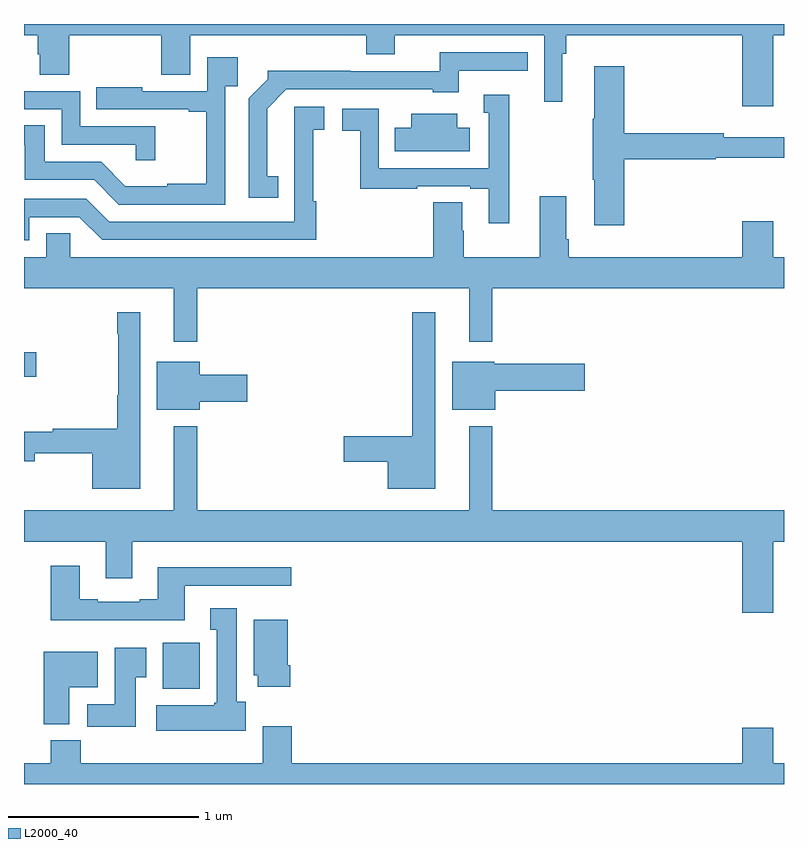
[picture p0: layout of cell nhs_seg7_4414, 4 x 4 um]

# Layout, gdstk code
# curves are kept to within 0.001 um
import gdstk
lib = gdstk.Library(unit=1e-6, precision=1e-09)
def R(c, l, rs):  # rectangles x0, y0, x1, y1
    for r in rs: c.add(gdstk.rectangle(r[:2], r[2:], *l))
def P(c, l, *ps):  # polygons
    for p in ps: c.add(gdstk.Polygon(p, *l))
L2000_40 = (2000, 40)

nhs_seg7_4414 = lib.new_cell('nhs_seg7_4414')
R(nhs_seg7_4414, L2000_40, [(389.729,1006.502,389.926,1006.744), (389,1008.143,389.065,1008.273)])
P(nhs_seg7_4414, L2000_40, [(392.944,1009.94),(393,1009.94),(393,1010),(389,1010),(389,1009.94),(389.072,1009.94),(389.072,1009.842),(389.084,1009.842),(389.084,1009.732),(389.237,1009.732),(389.237,1009.94),(389.723,1009.94),(389.723,1009.732),(389.875,1009.732),(389.875,1009.94),(390.8,1009.94),(390.8,1009.841),(390.952,1009.841),(390.952,1009.94),(391.737,1009.94),(391.737,1009.59),(391.834,1009.59),(391.834,1009.844),(391.853,1009.844),(391.853,1009.94),(392.78,1009.94),(392.78,1009.566),(392.944,1009.566)],
  [(390.338,1009.199),(390.28,1009.199),(390.28,1009.555),(390.381,1009.656),(391.152,1009.656),(391.152,1009.64),(391.288,1009.64),(391.288,1009.755),(391.652,1009.755),(391.652,1009.851),(391.189,1009.851),(391.189,1009.752),(390.716,1009.752),(390.716,1009.754),(390.282,1009.754),(390.282,1009.709),(390.183,1009.61),(390.183,1009.086),(390.338,1009.086)],
  [(390.06,1009.673),(390.125,1009.673),(390.125,1009.825),(389.964,1009.825),(389.964,1009.647),(389.623,1009.647),(389.623,1009.666),(389.38,1009.666),(389.38,1009.551),(389.867,1009.551),(389.867,1009.539),(389.959,1009.539),(389.959,1009.159),(389.753,1009.159),(389.753,1009.147),(389.534,1009.147),(389.406,1009.275),(389.11,1009.275),(389.11,1009.466),(389,1009.466),(389,1009.363),(389.003,1009.363),(389.003,1009.179),(389.37,1009.179),(389.499,1009.05),(390.06,1009.05)],
  [(392.159,1009.288),(392.642,1009.288),(392.642,1009.296),(393,1009.296),(393,1009.405),(392.684,1009.405),(392.684,1009.424),(392.159,1009.424),(392.159,1009.777),(392,1009.777),(392,1009.501),(391.993,1009.501),(391.993,1009.18),(392,1009.18),(392,1008.942),(392.159,1008.942)],
  [(389.69,1009.461),(389.295,1009.461),(389.295,1009.647),(389,1009.647),(389,1009.551),(389.199,1009.551),(389.199,1009.365),(389.589,1009.365),(389.589,1009.284),(389.69,1009.284)],
  [(391.555,1009.627),(391.421,1009.627),(391.421,1009.533),(391.446,1009.533),(391.446,1009.242),(390.867,1009.242),(390.867,1009.554),(390.675,1009.554),(390.675,1009.438),(390.769,1009.438),(390.769,1009.134),(391.07,1009.134),(391.07,1009.146),(391.349,1009.146),(391.349,1009.134),(391.445,1009.134),(391.445,1008.951),(391.555,1008.951)],
  [(389.028,1008.984),(389.292,1008.984),(389.412,1008.864),(390.539,1008.864),(390.539,1009.067),(390.522,1009.067),(390.522,1009.443),(390.58,1009.443),(390.58,1009.564),(390.422,1009.564),(390.423,1008.96),(389.448,1008.96),(389.328,1009.08),(389,1009.08),(389,1008.861),(389.028,1008.861)],
  [(391.345,1009.453),(391.279,1009.453),(391.279,1009.528),(391.037,1009.528),(391.037,1009.453),(390.952,1009.453),(390.952,1009.331),(391.345,1009.331)],
  [(389.911,1008.608),(391.343,1008.608),(391.343,1008.327),(391.465,1008.327),(391.465,1008.608),(393,1008.608),(393,1008.772),(392.944,1008.772),(392.944,1008.961),(392.78,1008.961),(392.78,1008.772),(391.868,1008.772),(391.868,1008.868),(391.855,1008.868),(391.855,1009.093),(391.715,1009.093),(391.715,1008.772),(391.314,1008.772),(391.314,1008.911),(391.306,1008.911),(391.306,1009.061),(391.154,1009.061),(391.154,1008.772),(389.244,1008.772),(389.244,1008.899),(389.117,1008.899),(389.117,1008.772),(389,1008.772),(389,1008.608),(389.789,1008.608),(389.789,1008.327),(389.911,1008.327)],
  [(389.611,1008.484),(389.49,1008.484),(389.49,1008.371),(389.497,1008.371),(389.497,1008.047),(389.492,1008.047),(389.492,1007.87),(389.152,1007.87),(389.152,1007.855),(389,1007.855),(389,1007.699),(389.056,1007.699),(389.056,1007.742),(389.36,1007.742),(389.36,1007.555),(389.611,1007.555)],
  [(391.165,1008.484),(391.044,1008.484),(391.044,1007.831),(390.684,1007.831),(390.684,1007.696),(390.914,1007.696),(390.914,1007.555),(391.165,1007.555)],
  [(389.926,1008.011),(390.175,1008.011),(390.175,1008.153),(389.926,1008.153),(389.926,1008.223),(389.699,1008.223),(389.699,1007.969),(389.926,1007.969)],
  [(391.48,1008.071),(391.951,1008.071),(391.951,1008.213),(391.476,1008.213),(391.476,1008.223),(391.253,1008.223),(391.253,1007.969),(391.48,1007.969)],
  [(392.944,1007.276),(393,1007.276),(393,1007.44),(391.465,1007.44),(391.465,1007.884),(391.343,1007.884),(391.343,1007.44),(389.911,1007.44),(389.911,1007.884),(389.789,1007.884),(389.789,1007.44),(389,1007.44),(389,1007.276),(389.429,1007.276),(389.429,1007.082),(389.569,1007.082),(389.569,1007.276),(392.78,1007.276),(392.78,1006.902),(392.944,1006.902)],
  [(389.845,1007.043),(390.406,1007.043),(390.406,1007.14),(389.705,1007.14),(389.705,1006.972),(389.609,1006.972),(389.609,1006.959),(389.389,1006.959),(389.389,1006.972),(389.293,1006.972),(389.293,1007.149),(389.141,1007.149),(389.141,1006.862),(389.845,1006.862)],
  [(390.166,1006.434),(390.121,1006.434),(390.121,1006.924),(389.981,1006.924),(389.981,1006.811),(390.014,1006.811),(390.014,1006.428),(390.001,1006.428),(390.001,1006.414),(389.697,1006.414),(389.697,1006.28),(390.166,1006.28)],
  [(390.401,1006.624),(390.388,1006.624),(390.388,1006.864),(390.209,1006.864),(390.209,1006.572),(390.23,1006.572),(390.23,1006.512),(390.401,1006.512)],
  [(389.587,1006.561),(389.644,1006.561),(389.644,1006.717),(389.477,1006.717),(389.477,1006.42),(389.334,1006.42),(389.334,1006.302),(389.587,1006.302)],
  [(389.239,1006.508),(389.389,1006.508),(389.389,1006.696),(389.105,1006.696),(389.105,1006.314),(389.239,1006.314)],
  [(393,1006.108),(392.944,1006.108),(392.944,1006.297),(392.78,1006.297),(392.78,1006.108),(390.41,1006.108),(390.41,1006.303),(390.257,1006.303),(390.257,1006.108),(389.298,1006.108),(389.298,1006.229),(389.141,1006.229),(389.141,1006.108),(389,1006.108),(389,1006),(393,1006)])

lib.write_gds('nhs_seg7_4414.gds')
